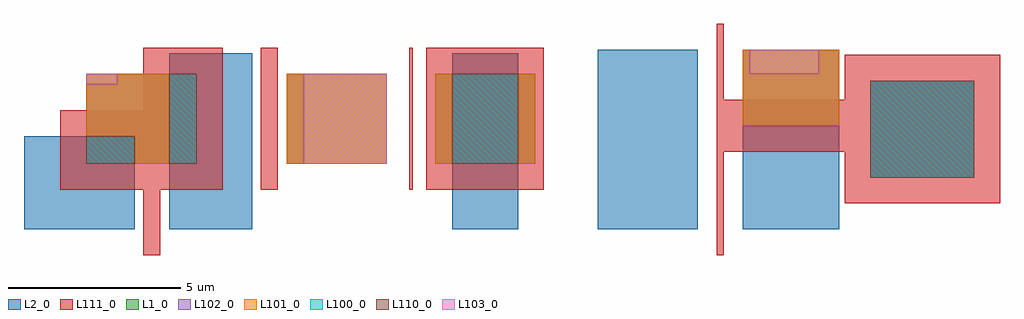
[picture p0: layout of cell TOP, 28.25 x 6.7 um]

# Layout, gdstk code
import gdstk
lib = gdstk.Library(unit=1e-6, precision=1e-09)
def R(c, l, rs):  # rectangles x0, y0, x1, y1
    for r in rs: c.add(gdstk.rectangle(r[:2], r[2:], *l))
def P(c, l, *ps):  # polygons
    for p in ps: c.add(gdstk.Polygon(p, *l))
L1_0 = (1, 0)
L2_0 = (2, 0)
L100_0 = (100, 0)
L101_0 = (101, 0)
L102_0 = (102, 0)
L103_0 = (103, 0)
L110_0 = (110, 0)
L111_0 = (111, 0)

top = lib.new_cell('TOP')
R(top, L1_0, [(24.5,1.5,27.5,4.3), (1.8,1.9,5,4.5), (7.6,1.9,10.5,4.5), (11.9,1.9,14.8,4.5), (20.8,3,23.6,5.2)])
R(top, L2_0, [(0,0,3.2,2.7), (4.2,0,6.6,5.1), (12.4,0,14.3,5.1), (16.6,0,19.5,5.2), (20.8,0,23.6,3), (24.5,1.5,27.5,4.3)])
R(top, L100_0, [(24.5,1.5,27.5,4.3), (1.8,1.9,3.2,2.7), (4.2,1.9,5,4.5), (12.4,1.9,14.3,4.5)])
R(top, L101_0, [(7.6,1.9,10.5,4.5), (11.9,1.9,12.4,4.5), (14.3,1.9,14.8,4.5), (20.8,3,23.6,5.2)])
P(top, L101_0, [(3.2,1.9),(3.2,2.7),(1.8,2.7),(1.8,4.5),(4.2,4.5),(4.2,1.9)])
R(top, L102_0, [(24.5,1.5,27.5,4.3), (7.6,1.9,8.1,4.5), (11.9,1.9,14.8,4.5)])
P(top, L102_0, [(20.8,3),(20.8,5.2),(21,5.2),(21,4.5),(23,4.5),(23,5.2),(23.6,5.2),(23.6,3)],
  [(1.8,1.9),(1.8,4.2),(2.7,4.2),(2.7,4.5),(5,4.5),(5,1.9)])
R(top, L103_0, [(8.1,1.9,10.5,4.5), (1.8,4.2,2.7,4.5), (21,4.5,23,5.2)])
R(top, L110_0, [(24.5,1.5,27.5,4.3), (1.8,1.9,3.2,2.7), (4.2,1.9,5,4.5), (12.4,1.9,14.3,4.5)])
R(top, L111_0, [(6.85,1.15,7.35,5.25), (11.15,1.15,11.25,5.25), (11.65,1.15,15.05,5.25)])
P(top, L111_0, [(20.05,-0.75),(20.05,5.95),(20.25,5.95),(20.25,3.75),(23.75,3.75),(23.75,5.05),(28.25,5.05),(28.25,0.75),(23.75,0.75),(23.75,2.25),(20.25,2.25),(20.25,-0.75)],
  [(3.45,-0.75),(3.45,1.15),(1.05,1.15),(1.05,3.45),(3.45,3.45),(3.45,5.25),(5.75,5.25),(5.75,1.15),(3.95,1.15),(3.95,-0.75)])

lib.write_gds('TOP.gds')
